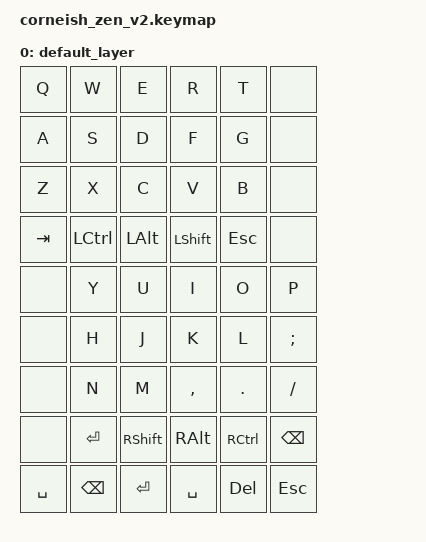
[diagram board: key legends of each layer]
/ {
    keymap {
        compatible = "zmk,keymap";

        default_layer {
            bindings = <
/* LEFT HALF */
&kp Q   &kp W   &kp E   &kp R   &kp T   &none
&kp A   &kp S   &kp D   &kp F   &kp G   &none
&kp Z   &kp X   &kp C   &kp V   &kp B   &none
&kp TAB &kp LCTRL &kp LALT &kp LSHIFT &kp ESC &none

/* RIGHT HALF */
&none &kp Y   &kp U   &kp I   &kp O   &kp P
&none &kp H   &kp J   &kp K   &kp L   &kp SEMI
&none &kp N   &kp M   &kp COMMA &kp DOT &kp SLASH
&none &kp ENTER &kp RSHIFT &kp RALT &kp RCTRL &kp BSPC

/* THUMBS */
&kp SPACE &kp BSPC &kp ENTER &kp SPACE &kp DEL &kp ESC
            >;
        };
    };
};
